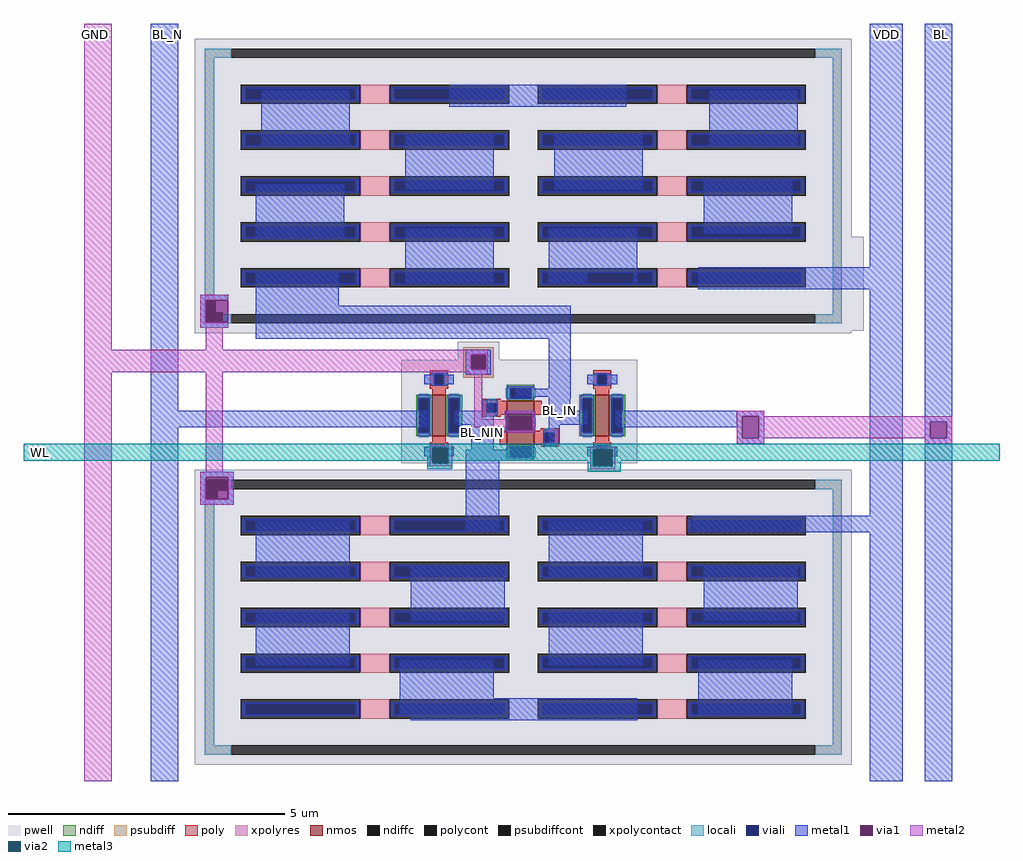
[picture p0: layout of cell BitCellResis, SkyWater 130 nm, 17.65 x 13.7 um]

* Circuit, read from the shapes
.subckt BitCellResis VDD GND BL BL_N BL_IN BL_NIN WL
XM1 BL_NIN WL BL_N GND sky130_fd_pr__nfet_01v8 w=0.75 l=0.25
XM2 GND BL_IN BL_NIN GND sky130_fd_pr__nfet_01v8 w=0.5 l=0.25
XM3 BL_IN BL_NIN GND GND sky130_fd_pr__nfet_01v8 w=0.5 l=0.25
XM4 BL WL BL_IN GND sky130_fd_pr__nfet_01v8 w=0.75 l=0.25
XR5 sky130_fd_pr__res_xhigh_po_0p35_ZFXP64_1/R1_0_0 sky130_fd_pr__res_xhigh_po_0p35_ZFXP64_1/R1_0_1 GND sky130_fd_pr__res_xhigh_po w=0.35 l=0.53
XR6 sky130_fd_pr__res_xhigh_po_0p35_ZFXP64_1/R1_0_0 sky130_fd_pr__res_xhigh_po_0p35_ZFXP64_1/R1_1_1 GND sky130_fd_pr__res_xhigh_po w=0.35 l=0.53
XR7 sky130_fd_pr__res_xhigh_po_0p35_ZFXP64_1/R2_2_1 sky130_fd_pr__res_xhigh_po_0p35_ZFXP64_1/R1_1_1 GND sky130_fd_pr__res_xhigh_po w=0.35 l=0.53
XR8 sky130_fd_pr__res_xhigh_po_0p35_ZFXP64_1/R2_2_1 sky130_fd_pr__res_xhigh_po_0p35_ZFXP64_1/R1_3_1 GND sky130_fd_pr__res_xhigh_po w=0.35 l=0.53
XR9 BL_NIN sky130_fd_pr__res_xhigh_po_0p35_ZFXP64_1/R1_3_1 GND sky130_fd_pr__res_xhigh_po w=0.35 l=0.53
XR10 sky130_fd_pr__res_xhigh_po_0p35_ZFXP64_0/R1_3_0 BL_IN GND sky130_fd_pr__res_xhigh_po w=0.35 l=0.53
XR11 sky130_fd_pr__res_xhigh_po_0p35_ZFXP64_0/R1_3_0 sky130_fd_pr__res_xhigh_po_0p35_ZFXP64_0/R2_2_0 GND sky130_fd_pr__res_xhigh_po w=0.35 l=0.53
XR12 sky130_fd_pr__res_xhigh_po_0p35_ZFXP64_0/R1_1_0 sky130_fd_pr__res_xhigh_po_0p35_ZFXP64_0/R2_2_0 GND sky130_fd_pr__res_xhigh_po w=0.35 l=0.53
XR13 sky130_fd_pr__res_xhigh_po_0p35_ZFXP64_0/R1_1_0 sky130_fd_pr__res_xhigh_po_0p35_ZFXP64_0/R2_0_0 GND sky130_fd_pr__res_xhigh_po w=0.35 l=0.53
XR14 sky130_fd_pr__res_xhigh_po_0p35_ZFXP64_0/R1_0_0 sky130_fd_pr__res_xhigh_po_0p35_ZFXP64_0/R2_0_0 GND sky130_fd_pr__res_xhigh_po w=0.35 l=0.53
XR15 sky130_fd_pr__res_xhigh_po_0p35_ZFXP64_1/R2_0_0 sky130_fd_pr__res_xhigh_po_0p35_ZFXP64_1/R1_0_0 GND sky130_fd_pr__res_xhigh_po w=0.35 l=0.53
XR16 sky130_fd_pr__res_xhigh_po_0p35_ZFXP64_1/R2_0_0 sky130_fd_pr__res_xhigh_po_0p35_ZFXP64_1/R1_1_0 GND sky130_fd_pr__res_xhigh_po w=0.35 l=0.53
XR17 sky130_fd_pr__res_xhigh_po_0p35_ZFXP64_1/R2_2_0 sky130_fd_pr__res_xhigh_po_0p35_ZFXP64_1/R1_1_0 GND sky130_fd_pr__res_xhigh_po w=0.35 l=0.53
XR18 sky130_fd_pr__res_xhigh_po_0p35_ZFXP64_1/R2_2_0 sky130_fd_pr__res_xhigh_po_0p35_ZFXP64_1/R1_3_0 GND sky130_fd_pr__res_xhigh_po w=0.35 l=0.53
XR19 VDD sky130_fd_pr__res_xhigh_po_0p35_ZFXP64_1/R1_3_0 GND sky130_fd_pr__res_xhigh_po w=0.35 l=0.53
XR20 VDD sky130_fd_pr__res_xhigh_po_0p35_ZFXP64_0/R2_3_1 GND sky130_fd_pr__res_xhigh_po w=0.35 l=0.53
XR21 sky130_fd_pr__res_xhigh_po_0p35_ZFXP64_0/R1_2_1 sky130_fd_pr__res_xhigh_po_0p35_ZFXP64_0/R2_3_1 GND sky130_fd_pr__res_xhigh_po w=0.35 l=0.53
XR22 sky130_fd_pr__res_xhigh_po_0p35_ZFXP64_0/R1_2_1 sky130_fd_pr__res_xhigh_po_0p35_ZFXP64_0/R2_1_1 GND sky130_fd_pr__res_xhigh_po w=0.35 l=0.53
XR23 sky130_fd_pr__res_xhigh_po_0p35_ZFXP64_0/R1_0_1 sky130_fd_pr__res_xhigh_po_0p35_ZFXP64_0/R2_1_1 GND sky130_fd_pr__res_xhigh_po w=0.35 l=0.53
XR24 sky130_fd_pr__res_xhigh_po_0p35_ZFXP64_0/R1_0_1 sky130_fd_pr__res_xhigh_po_0p35_ZFXP64_0/R1_0_0 GND sky130_fd_pr__res_xhigh_po w=0.35 l=0.53
.ends

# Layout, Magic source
magic
tech sky130A
magscale 1 2
<< pwell >>
rect 699 590 1479 930
rect 10 484 160 550
rect -194 110 660 484
<< psubdiff >>
rect 30 500 140 530
rect 30 450 60 500
rect 110 450 140 500
rect 30 420 140 450
<< psubdiffcont >>
rect 60 450 110 500
<< locali >>
rect 40 500 130 520
rect 40 450 60 500
rect 110 450 130 500
rect 40 430 130 450
<< viali >>
rect -900 654 -866 700
rect -900 620 -840 654
rect 60 450 110 500
rect -900 13 -820 50
rect -900 -20 -860 13
<< metal1 >>
rect -1100 300 -1000 1700
rect -700 1260 -380 1460
rect -20 1400 620 1480
rect -720 920 -400 1120
rect -180 1100 140 1300
rect 360 1100 680 1300
rect 920 1260 1240 1460
rect -920 700 -820 720
rect -920 620 -900 700
rect -920 600 -820 620
rect -720 680 -420 800
rect -180 760 140 960
rect 340 799 660 960
rect 900 940 1220 1140
rect 1500 820 1620 1700
rect 340 760 479 799
rect 645 760 660 799
rect 880 740 1620 820
rect -720 560 420 680
rect 40 502 130 520
rect 40 450 60 502
rect 112 450 130 502
rect 40 430 130 450
rect 340 380 420 560
rect 220 350 420 380
rect 340 346 420 350
rect 100 300 140 340
rect 340 300 418 346
rect -1100 240 -100 300
rect 0 250 140 300
rect -1100 -1040 -1000 240
rect -90 162 -10 180
rect -90 150 -80 162
rect -100 110 -80 150
rect -28 110 -10 162
rect 60 160 140 250
rect 184 290 290 300
rect 184 230 190 290
rect 280 230 290 290
rect 184 220 290 230
rect 340 250 480 300
rect 580 280 1120 300
rect 580 250 1040 280
rect 340 180 380 250
rect 590 240 1040 250
rect 1020 200 1040 240
rect 1100 200 1120 280
rect 1020 180 1120 200
rect -100 100 -10 110
rect 40 120 280 160
rect 490 152 570 160
rect -920 60 -800 80
rect -920 -20 -900 60
rect -820 -20 -800 60
rect -920 -40 -800 -20
rect -720 -300 -380 -100
rect 40 -140 160 120
rect 490 100 500 152
rect 560 100 570 152
rect 1500 -80 1620 740
rect -720 -620 -380 -420
rect -160 -460 180 -260
rect 340 -300 680 -100
rect 860 -140 1620 -80
rect -200 -740 140 -600
rect 340 -620 680 -420
rect 900 -460 1240 -260
rect -200 -800 660 -740
rect 880 -800 1220 -600
rect -160 -820 660 -800
rect 1500 -1040 1620 -140
rect 1700 260 1800 1700
rect 1700 200 1720 260
rect 1780 200 1800 260
rect 1700 -1040 1800 200
<< via1 >>
rect -900 654 -866 700
rect -866 654 -820 700
rect -900 620 -840 654
rect -840 620 -820 654
rect 60 500 112 502
rect 60 450 110 500
rect 110 450 112 500
rect -80 110 -28 162
rect 190 230 280 290
rect 1040 200 1100 280
rect -900 50 -820 60
rect -900 13 -820 50
rect -900 -20 -860 13
rect -860 -20 -820 13
rect 500 100 560 152
rect 1720 200 1780 260
<< metal2 >>
rect -1340 520 -1240 1700
rect -920 700 -820 720
rect -920 620 -900 700
rect -920 600 -820 620
rect -900 520 -840 600
rect -1340 502 120 520
rect -1340 450 60 502
rect 112 450 120 502
rect -1340 440 120 450
rect -1340 -1040 -1240 440
rect -900 80 -840 440
rect 50 430 120 440
rect 70 270 100 430
rect 180 290 290 300
rect 180 270 190 290
rect 70 240 190 270
rect 180 230 190 240
rect 280 230 290 290
rect 180 220 290 230
rect 1020 280 1120 300
rect 1020 200 1040 280
rect 1100 260 1800 280
rect 1100 200 1720 260
rect 1780 200 1800 260
rect 1020 180 1120 200
rect 1700 180 1800 200
rect -90 166 -10 180
rect -90 110 -80 166
rect -24 110 -10 166
rect -90 100 -10 110
rect 490 160 580 170
rect 490 100 500 160
rect 570 100 580 160
rect 490 90 580 100
rect -920 60 -800 80
rect -920 -20 -900 60
rect -820 -20 -800 60
rect -920 -40 -800 -20
<< via2 >>
rect -80 162 -24 166
rect -80 110 -28 162
rect -28 110 -24 162
rect 500 152 570 160
rect 500 100 560 152
rect 560 100 570 152
<< metal3 >>
rect -1560 166 1970 180
rect -1560 120 -80 166
rect -100 110 -80 120
rect -24 160 1970 166
rect -24 120 500 160
rect -24 110 -10 120
rect -100 90 -10 110
rect 480 100 500 120
rect 570 120 1970 160
rect 570 100 600 120
rect 480 80 600 100
use sky130_fd_pr__nfet_01v8_BHJCXL  sky130_fd_pr__nfet_01v8_BHJCXL_0
transform 0 1 238 -1 0 257
box -137 -138 137 138
use sky130_fd_pr__nfet_01v8_HKHAX8  sky130_fd_pr__nfet_01v8_HKHAX8_0
transform 1 0 533 0 1 283
box -83 -163 83 163
use sky130_fd_pr__nfet_01v8_HKHAX8  sky130_fd_pr__nfet_01v8_HKHAX8_1
transform 1 0 -57 0 1 283
box -83 -163 83 163
use sky130_fd_pr__res_xhigh_po_0p35_ZFXP64  sky130_fd_pr__res_xhigh_po_0p35_ZFXP64_0
transform 0 1 248 -1 0 1113
box -533 -1188 533 1188
use sky130_fd_pr__res_xhigh_po_0p35_ZFXP64  sky130_fd_pr__res_xhigh_po_0p35_ZFXP64_1
transform 0 -1 248 1 0 -447
box -533 -1188 533 1188
<< labels >>
rlabel metal1 1560 1660 1560 1660 1 VDD
port 1 n
rlabel metal1 1760 1660 1760 1660 1 BL
port 3 n
rlabel metal1 -1040 1660 -1040 1660 1 BL_N
port 4 n
rlabel metal2 -1300 1660 -1300 1660 1 GND
port 2 n
rlabel metal1 100 220 100 220 1 BL_NIN
port 6 n
rlabel metal1 380 300 380 300 1 BL_IN
port 5 n
rlabel metal3 -1500 150 -1500 150 7 WL
port 7 w
<< end >>

# cell sky130_fd_pr__nfet_01v8_BHJCXL: kit device sky130_fd_pr__nfet_01v8, w 0.5 l 0.25 m 1 nf 2 diffcov 100 polycov 100 guard 0 glc 1 grc 1 gtc 1 gbc 1 tbcov 100 rlcov 100 topc 1 botc 1 poverlap 0 doverlap 1 lmin 0.15 wmin 0.42 class mosfet compatible {sky130_fd_pr__nfet_01v8 sky130_fd_pr__nfet_01v8_lvt sky130_fd_bs_flash__special_sonosfet_star sky130_fd_pr__nfet_g5v0d10v5 sky130_fd_pr__nfet_05v0_nvt sky130_fd_pr__nfet_03v3_nvt} full_metal 1 conn_gates 0 viasrc 100 viadrn 100 viagate 100 viagb 0 viagr 0 viagl 0 viagt 0 doports 1

# cell sky130_fd_pr__nfet_01v8_HKHAX8: kit device sky130_fd_pr__nfet_01v8, w 0.75 l 0.25 m 1 nf 1 diffcov 100 polycov 100 guard 0 glc 1 grc 1 gtc 1 gbc 1 tbcov 100 rlcov 100 topc 1 botc 1 poverlap 0 doverlap 1 lmin 0.15 wmin 0.42 class mosfet compatible {sky130_fd_pr__nfet_01v8 sky130_fd_pr__nfet_01v8_lvt sky130_fd_bs_flash__special_sonosfet_star sky130_fd_pr__nfet_g5v0d10v5 sky130_fd_pr__nfet_05v0_nvt sky130_fd_pr__nfet_03v3_nvt} full_metal 1 conn_gates 1 viasrc 100 viadrn 100 viagate 100 viagb 0 viagr 0 viagl 0 viagt 0 doports 1

# cell sky130_fd_pr__res_xhigh_po_0p35_ZFXP64: kit device sky130_fd_pr__res_xhigh_po_0p35, w 0.350 l 0.687 m 2 nx 5 wmin 0.350 lmin 0.50 class resistor rho 2000 val 5.001k dummy 0 dw 0.0 term 188.2 sterm 0.0 caplen 0 wmax 0.350 guard 1 glc 1 grc 1 gtc 0 gbc 0 compatible {sky130_fd_pr__res_xhigh_po_0p35 sky130_fd_pr__res_xhigh_po_0p69 sky130_fd_pr__res_xhigh_po_1p41 sky130_fd_pr__res_xhigh_po_2p85 sky130_fd_pr__res_xhigh_po_5p73} snake 0 full_metal 1 n_guard 0 hv_guard 0 vias 1 viagb 0 viagt 0 viagl 0 viagr 0 doports 1
